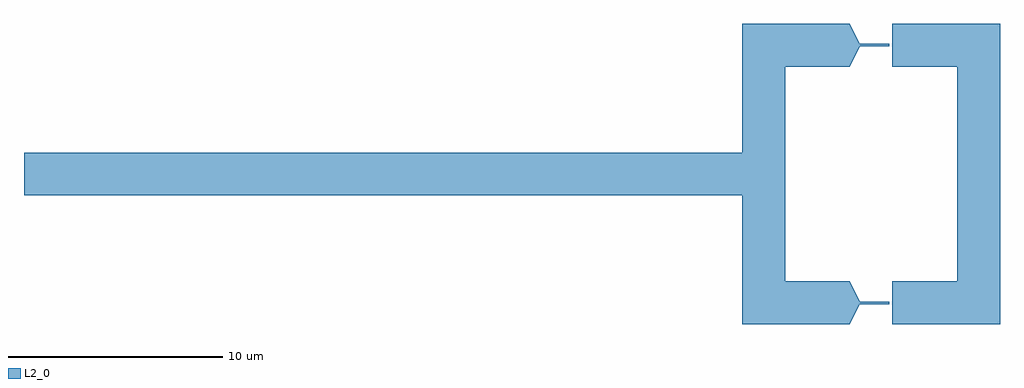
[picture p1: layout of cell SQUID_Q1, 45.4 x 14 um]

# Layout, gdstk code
import gdstk
lib = gdstk.Library(unit=1e-6, precision=1e-09)
def R(c, l, rs):  # rectangles x0, y0, x1, y1
    for r in rs: c.add(gdstk.rectangle(r[:2], r[2:], *l))
def P(c, l, *ps):  # polygons
    for p in ps: c.add(gdstk.Polygon(p, *l))
L2_0 = (2, 0)

squid_q1 = lib.new_cell('SQUID_Q1')
R(squid_q1, L2_0, [(9.701,-7,11.701,7), (11.701,-7,14.706,-5), (16.696,-7,19.701,-5), (19.701,-7,21.701,7), (15.186,-6.068,16.546,-5.932), (-23.701,-1,9.701,1), (11.701,5,14.706,7), (16.696,5,19.701,7), (15.186,5.932,16.546,6.068)])
P(squid_q1, L2_0, [(14.706,-7),(15.186,-6.068),(15.186,-5.932),(14.706,-5)],
  [(14.706,5),(15.186,5.932),(15.186,6.068),(14.706,7)])

lib.write_gds('SQUID_Q1.gds')
